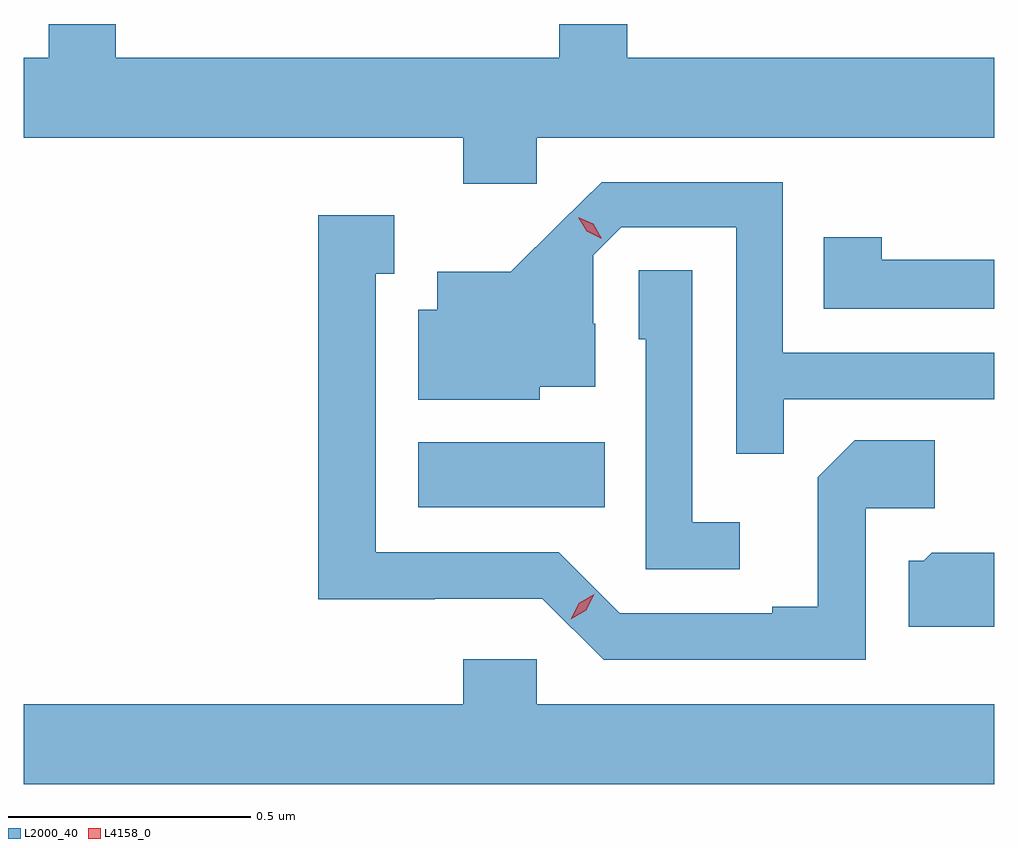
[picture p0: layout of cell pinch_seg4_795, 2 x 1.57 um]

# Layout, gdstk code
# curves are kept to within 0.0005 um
import gdstk
lib = gdstk.Library(unit=1e-6, precision=1e-09)
def R(c, l, rs):  # rectangles x0, y0, x1, y1
    for r in rs: c.add(gdstk.rectangle(r[:2], r[2:], *l))
def P(c, l, *ps):  # polygons
    for p in ps: c.add(gdstk.Polygon(p, *l))
L2000_40 = (2000, 40)
L4158_0 = (4158, 0)

pinch_seg4_795 = lib.new_cell('pinch_seg4_795')
R(pinch_seg4_795, L2000_40, [(792.272,817.37,792.656,817.504)])
P(pinch_seg4_795, L2000_40, [(792.516,818.132),(793.459,818.132),(793.459,818.296),(792.703,818.296),(792.703,818.366),(792.563,818.366),(792.563,818.296),(791.649,818.296),(791.649,818.366),(791.511,818.366),(791.511,818.296),(791.459,818.296),(791.459,818.132),(792.365,818.132),(792.365,818.037),(792.516,818.037)],
  [(793.025,817.593),(793.459,817.593),(793.459,817.689),(793.023,817.689),(793.023,818.04),(792.65,818.04),(792.463,817.855),(792.311,817.855),(792.311,817.777),(792.272,817.777),(792.272,817.592),(792.522,817.592),(792.522,817.619),(792.637,817.619),(792.637,817.748),(792.633,817.748),(792.633,817.89),(792.69,817.947),(792.927,817.947),(792.927,817.48),(793.025,817.48)],
  [(793.194,817.368),(793.336,817.368),(793.336,817.508),(793.171,817.508),(793.095,817.432),(793.095,817.165),(793.001,817.165),(793.001,817.152),(792.687,817.152),(792.561,817.278),(792.184,817.278),(792.184,817.851),(792.223,817.851),(792.223,817.972),(792.066,817.972),(792.066,817.181),(792.306,817.181),(792.306,817.182),(792.528,817.182),(792.654,817.056),(793.194,817.056)],
  [(793.459,817.88),(793.227,817.88),(793.227,817.927),(793.108,817.927),(793.108,817.779),(793.459,817.779)],
  [(792.934,817.339),(792.837,817.339),(792.837,817.859),(792.726,817.859),(792.726,817.716),(792.741,817.716),(792.741,817.242),(792.934,817.242)],
  [(793.459,817.276),(793.33,817.276),(793.314,817.26),(793.283,817.26),(793.283,817.124),(793.459,817.124)],
  [(793.459,816.964),(792.516,816.964),(792.516,817.057),(792.365,817.057),(792.365,816.964),(791.459,816.964),(791.459,816.8),(793.459,816.8)])
P(pinch_seg4_795, L4158_0, [(792.65,817.924),(792.619,817.939),(792.602,817.968),(792.602,817.968),(792.602,817.968),(792.633,817.954),(792.65,817.924),(792.65,817.924)],
  [(792.586,817.139),(792.586,817.139),(792.603,817.172),(792.635,817.191),(792.635,817.191),(792.635,817.191),(792.618,817.158),(792.586,817.139)])

lib.write_gds('pinch_seg4_795.gds')
